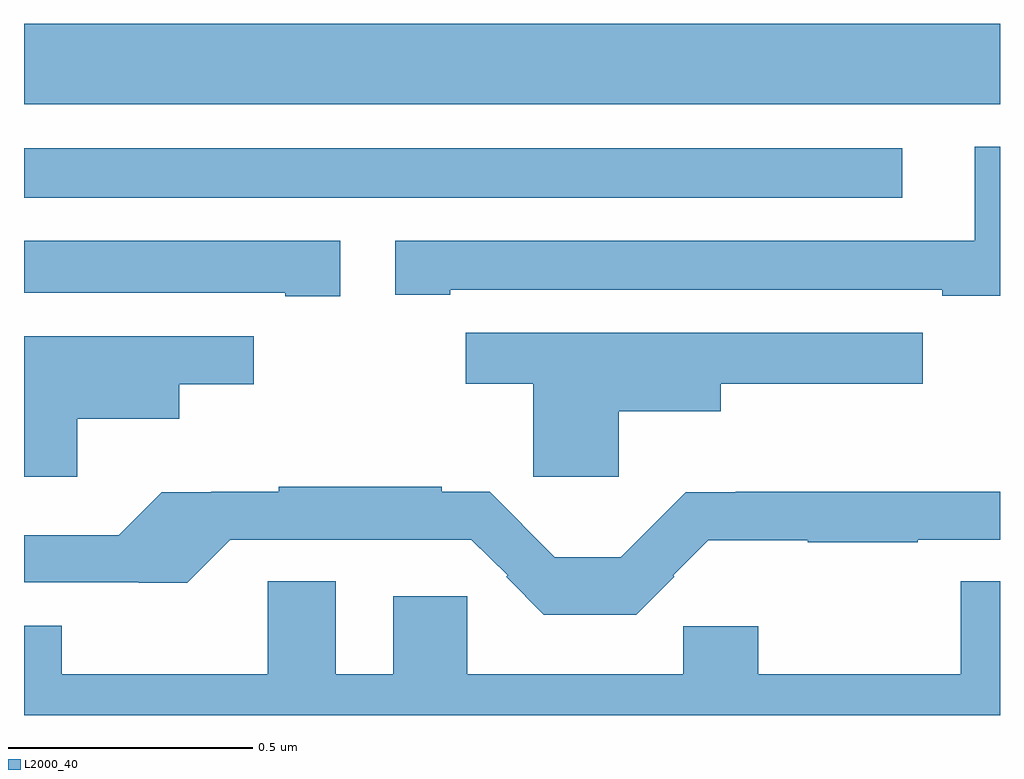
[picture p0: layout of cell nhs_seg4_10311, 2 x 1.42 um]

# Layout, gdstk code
import gdstk
lib = gdstk.Library(unit=1e-6, precision=1e-09)
def R(c, l, rs):  # rectangles x0, y0, x1, y1
    for r in rs: c.add(gdstk.rectangle(r[:2], r[2:], *l))
def P(c, l, *ps):  # polygons
    for p in ps: c.add(gdstk.Polygon(p, *l))
L2000_40 = (2000, 40)

nhs_seg4_10311 = lib.new_cell('nhs_seg4_10311')
R(nhs_seg4_10311, L2000_40, [(238,797.96,239.8,798.061), (238,798.152,240,798.316)])
P(nhs_seg4_10311, L2000_40, [(240,798.064),(239.948,798.064),(239.948,797.872),(238.761,797.872),(238.761,797.761),(238.873,797.761),(238.873,797.771),(239.882,797.771),(239.882,797.759),(240,797.759)],
  [(238.648,797.872),(238,797.872),(238,797.765),(238.535,797.765),(238.535,797.758),(238.648,797.758)],
  [(239.219,797.522),(239.428,797.522),(239.428,797.579),(239.842,797.579),(239.842,797.683),(238.905,797.683),(238.905,797.579),(239.044,797.579),(239.044,797.388),(239.219,797.388)],
  [(238.109,797.507),(238.318,797.507),(238.318,797.578),(238.471,797.578),(238.471,797.676),(238,797.676),(238,797.388),(238.109,797.388)],
  [(239.332,797.183),(239.33,797.186),(239.402,797.258),(239.606,797.258),(239.606,797.254),(239.831,797.254),(239.831,797.259),(240,797.259),(240,797.358),(239.458,797.358),(239.458,797.356),(239.356,797.356),(239.223,797.223),(239.088,797.223),(238.954,797.358),(238.856,797.358),(238.856,797.368),(238.522,797.368),(238.522,797.358),(238.384,797.358),(238.384,797.356),(238.282,797.356),(238.194,797.268),(238,797.268),(238,797.172),(238.235,797.172),(238.235,797.171),(238.335,797.171),(238.423,797.259),(238.917,797.259),(238.991,797.186),(238.988,797.183),(239.065,797.105),(239.255,797.105)],
  [(240,797.174),(239.92,797.174),(239.92,796.984),(239.505,796.984),(239.505,797.082),(239.351,797.082),(239.351,796.984),(238.908,796.984),(238.908,797.143),(238.757,797.143),(238.757,796.984),(238.639,796.984),(238.639,797.174),(238.499,797.174),(238.499,796.984),(238.077,796.984),(238.077,797.083),(238,797.083),(238,796.9),(240,796.9)])

lib.write_gds('nhs_seg4_10311.gds')
